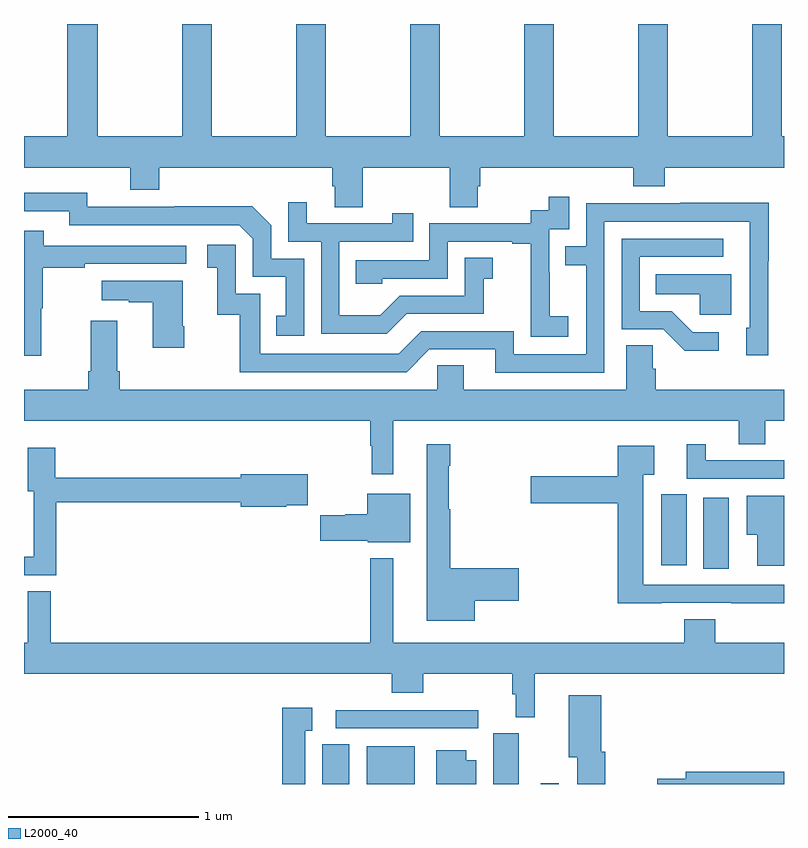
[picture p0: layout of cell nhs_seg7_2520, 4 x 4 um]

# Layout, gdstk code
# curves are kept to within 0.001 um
import gdstk
lib = gdstk.Library(unit=1e-6, precision=1e-09)
def R(c, l, rs):  # rectangles x0, y0, x1, y1
    for r in rs: c.add(gdstk.rectangle(r[:2], r[2:], *l))
def P(c, l, *ps):  # polygons
    for p in ps: c.add(gdstk.Polygon(p, *l))
L2000_40 = (2000, 40)

nhs_seg7_2520 = lib.new_cell('nhs_seg7_2520')
R(nhs_seg7_2520, L2000_40, [(276.569,1036,276.712,1036.208), (276.803,1036,277.057,1036.198), (277.469,1036,277.603,1036.266), (277.719,1036,277.815,1036.003), (276.642,1036.293,277.39,1036.389), (278.576,1037.134,278.71,1037.506), (278.354,1037.151,278.488,1037.526)])
P(nhs_seg7_2520, L2000_40, [(275.833,1040),(275.833,1039.408),(275.388,1039.408),(275.388,1040),(275.228,1040),(275.228,1039.408),(275,1039.408),(275,1039.244),(275.558,1039.244),(275.558,1039.127),(275.711,1039.127),(275.711,1039.244),(276.623,1039.244),(276.623,1039.146),(276.635,1039.146),(276.635,1039.036),(276.783,1039.036),(276.783,1039.244),(277.24,1039.244),(277.24,1039.036),(277.387,1039.036),(277.387,1039.146),(277.4,1039.146),(277.4,1039.244),(278.207,1039.244),(278.207,1039.145),(278.372,1039.145),(278.372,1039.244),(279,1039.244),(279,1039.408),(278.988,1039.408),(278.988,1040),(278.833,1040),(278.833,1039.408),(278.388,1039.408),(278.388,1040),(278.233,1040),(278.233,1039.408),(277.788,1039.408),(277.788,1040),(277.633,1040),(277.633,1039.408),(277.188,1039.408),(277.188,1040),(277.033,1040),(277.033,1039.408),(276.588,1039.408),(276.588,1040),(276.433,1040),(276.433,1039.408),(275.988,1039.408),(275.988,1040)],
  [(276.474,1038.765),(276.3,1038.765),(276.3,1038.942),(276.202,1039.04),(275.794,1039.04),(275.794,1039.038),(275.334,1039.038),(275.334,1039.111),(275,1039.111),(275,1039.014),(275.238,1039.014),(275.238,1038.942),(276.132,1038.942),(276.204,1038.87),(276.204,1038.669),(276.377,1038.669),(276.377,1038.465),(276.328,1038.465),(276.328,1038.36),(276.474,1038.36)],
  [(277.864,1038.463),(277.766,1038.463),(277.766,1038.692),(277.764,1038.692),(277.764,1038.921),(277.869,1038.921),(277.869,1039.09),(277.761,1039.09),(277.761,1039.02),(277.668,1039.02),(277.668,1038.951),(277.134,1038.951),(277.134,1038.756),(276.745,1038.756),(276.745,1038.633),(276.885,1038.633),(276.885,1038.66),(277.23,1038.66),(277.23,1038.855),(277.571,1038.855),(277.571,1038.843),(277.667,1038.843),(277.667,1038.559),(277.666,1038.559),(277.666,1038.353),(277.864,1038.353)],
  [(277.015,1038.474),(277.419,1038.474),(277.419,1038.659),(277.468,1038.659),(277.468,1038.769),(277.32,1038.769),(277.32,1038.57),(276.978,1038.57),(276.874,1038.466),(276.66,1038.466),(276.66,1038.855),(277.049,1038.855),(277.049,1039.003),(276.938,1039.003),(276.938,1038.951),(276.487,1038.951),(276.487,1039.063),(276.39,1039.063),(276.39,1038.855),(276.564,1038.855),(276.564,1038.369),(276.91,1038.369)],
  [(278.055,1038.96),(278.819,1038.96),(278.82,1038.402),(278.801,1038.402),(278.801,1038.257),(278.916,1038.257),(278.916,1038.751),(278.919,1038.751),(278.919,1039.058),(278.455,1039.058),(278.455,1039.056),(277.959,1039.056),(277.959,1038.831),(277.849,1038.831),(277.849,1038.73),(277.959,1038.73),(277.959,1038.261),(277.578,1038.261),(277.578,1038.384),(277.092,1038.384),(276.972,1038.264),(276.243,1038.264),(276.243,1038.579),(276.114,1038.579),(276.114,1038.838),(275.964,1038.838),(275.964,1038.717),(276.017,1038.717),(276.017,1038.471),(276.135,1038.471),(276.135,1038.168),(277.014,1038.168),(277.134,1038.288),(277.481,1038.288),(277.481,1038.165),(278.055,1038.165)],
  [(275.09,1038.504),(275.098,1038.504),(275.098,1038.718),(275.321,1038.718),(275.321,1038.738),(275.854,1038.738),(275.854,1038.834),(275.105,1038.834),(275.105,1038.913),(275,1038.913),(275,1038.255),(275.09,1038.255)],
  [(278.656,1038.378),(278.521,1038.378),(278.41,1038.489),(278.241,1038.489),(278.241,1038.774),(278.68,1038.774),(278.68,1038.87),(278.145,1038.87),(278.145,1038.393),(278.364,1038.393),(278.477,1038.281),(278.656,1038.281)],
  [(278.722,1038.682),(278.326,1038.682),(278.326,1038.578),(278.557,1038.578),(278.557,1038.47),(278.722,1038.47)],
  [(275.844,1038.409),(275.836,1038.409),(275.836,1038.649),(275.409,1038.649),(275.409,1038.545),(275.552,1038.545),(275.552,1038.535),(275.678,1038.535),(275.678,1038.297),(275.844,1038.297)],
  [(276.943,1037.912),(278.762,1037.912),(278.762,1037.788),(278.902,1037.788),(278.902,1037.912),(279,1037.912),(279,1038.076),(278.324,1038.076),(278.324,1038.185),(278.31,1038.185),(278.31,1038.308),(278.171,1038.308),(278.171,1038.076),(277.315,1038.076),(277.315,1038.203),(277.176,1038.203),(277.176,1038.076),(275.504,1038.076),(275.504,1038.172),(275.491,1038.172),(275.491,1038.439),(275.351,1038.439),(275.351,1038.172),(275.339,1038.172),(275.339,1038.076),(275,1038.076),(275,1037.912),(276.822,1037.912),(276.822,1037.78),(276.829,1037.78),(276.829,1037.631),(276.943,1037.631)],
  [(279,1037.703),(278.587,1037.703),(278.587,1037.788),(278.489,1037.788),(278.489,1037.607),(279,1037.607)],
  [(277.372,1036.964),(277.603,1036.964),(277.603,1037.135),(277.243,1037.135),(277.243,1037.447),(277.235,1037.447),(277.235,1037.675),(277.243,1037.675),(277.243,1037.788),(277.121,1037.788),(277.121,1036.859),(277.372,1036.859)],
  [(278.356,1036.953),(278.722,1036.953),(278.722,1036.952),(279,1036.952),(279,1037.049),(278.26,1037.049),(278.26,1037.627),(278.317,1037.627),(278.317,1037.779),(278.126,1037.779),(278.126,1037.619),(277.668,1037.619),(277.668,1037.477),(278.126,1037.477),(278.126,1036.952),(278.356,1036.952)],
  [(275.17,1037.482),(276.14,1037.482),(276.14,1037.459),(276.38,1037.459),(276.38,1037.468),(276.493,1037.468),(276.493,1037.629),(276.14,1037.629),(276.14,1037.611),(275.165,1037.611),(275.165,1037.77),(275.021,1037.77),(275.021,1037.541),(275.051,1037.541),(275.051,1037.196),(275,1037.196),(275,1037.1),(275.17,1037.1)],
  [(277.033,1037.527),(276.806,1037.527),(276.806,1037.421),(276.69,1037.421),(276.69,1037.414),(276.558,1037.414),(276.558,1037.279),(276.81,1037.279),(276.81,1037.273),(277.033,1037.273)],
  [(279,1037.518),(278.804,1037.518),(278.804,1037.312),(278.858,1037.312),(278.858,1037.148),(279,1037.148)],
  [(277.688,1036.58),(279,1036.58),(279,1036.744),(278.639,1036.744),(278.639,1036.868),(278.474,1036.868),(278.474,1036.744),(276.943,1036.744),(276.943,1037.188),(276.822,1037.188),(276.822,1036.744),(275.14,1036.744),(275.14,1037.015),(275.021,1037.015),(275.021,1036.744),(275,1036.744),(275,1036.58),(276.935,1036.58),(276.935,1036.481),(277.1,1036.481),(277.1,1036.58),(277.57,1036.58),(277.57,1036.472),(277.589,1036.472),(277.589,1036.351),(277.688,1036.351)],
  [(278.059,1036.171),(278.038,1036.171),(278.038,1036.468),(277.868,1036.468),(277.868,1036.142),(277.913,1036.142),(277.913,1036),(278.059,1036)],
  [(276.481,1036.281),(276.517,1036.281),(276.517,1036.402),(276.36,1036.402),(276.36,1036),(276.481,1036)],
  [(277.381,1036.126),(277.327,1036.126),(277.327,1036.177),(277.169,1036.177),(277.169,1036),(277.381,1036)],
  [(279,1036.064),(278.483,1036.064),(278.483,1036.028),(278.334,1036.028),(278.334,1036),(279,1036)])

lib.write_gds('nhs_seg7_2520.gds')
